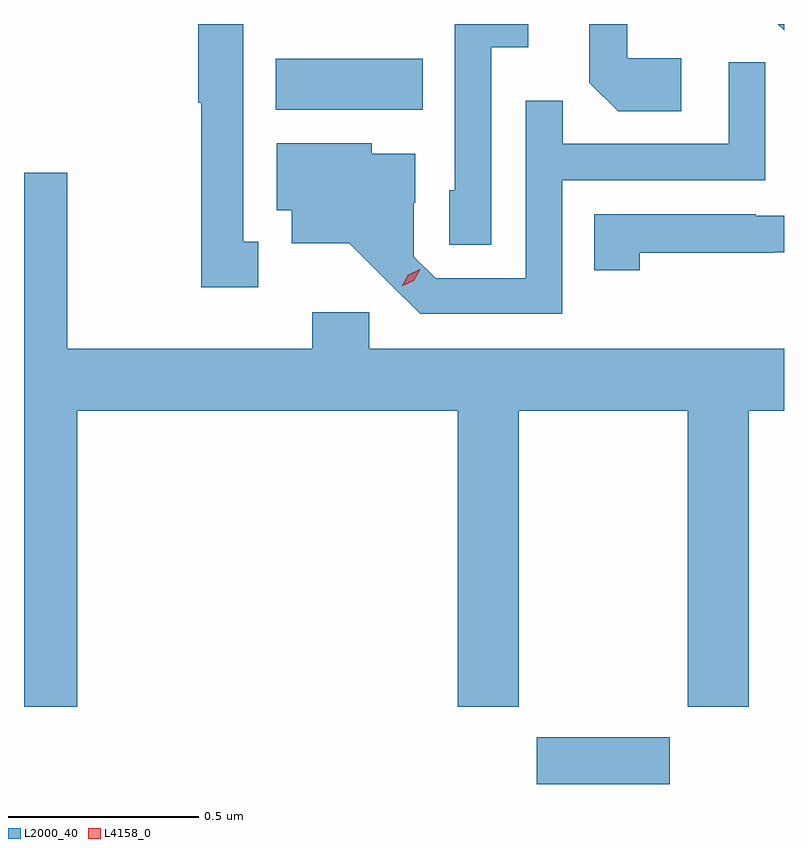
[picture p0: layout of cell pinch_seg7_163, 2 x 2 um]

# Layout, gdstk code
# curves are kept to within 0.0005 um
import gdstk
lib = gdstk.Library(unit=1e-6, precision=1e-09)
def R(c, l, rs):  # rectangles x0, y0, x1, y1
    for r in rs: c.add(gdstk.rectangle(r[:2], r[2:], *l))
def P(c, l, *ps):  # polygons
    for p in ps: c.add(gdstk.Polygon(p, *l))
L2000_40 = (2000, 40)
L4158_0 = (4158, 0)

pinch_seg7_163 = lib.new_cell('pinch_seg7_163')
R(pinch_seg7_163, L2000_40, [(1044.704,1024.942,1045.054,1025.065), (1044.017,1026.716,1044.404,1026.85)])
P(pinch_seg7_163, L2000_40, [(1044.585,1026.881),(1044.682,1026.881),(1044.682,1026.942),(1044.489,1026.942),(1044.489,1026.504),(1044.474,1026.504),(1044.474,1026.361),(1044.585,1026.361)],
  [(1043.971,1026.369),(1043.932,1026.369),(1043.932,1026.942),(1043.814,1026.942),(1043.814,1026.735),(1043.821,1026.735),(1043.821,1026.249),(1043.971,1026.249)],
  [(1045.084,1026.852),(1044.942,1026.852),(1044.942,1026.942),(1044.843,1026.942),(1044.843,1026.788),(1044.919,1026.712),(1045.084,1026.712)],
  [(1045.355,1026.942),(1045.338,1026.942),(1045.355,1026.925)],
  [(1044.771,1026.531),(1045.305,1026.531),(1045.305,1026.841),(1045.209,1026.841),(1045.209,1026.627),(1044.773,1026.627),(1044.773,1026.74),(1044.675,1026.74),(1044.675,1026.273),(1044.438,1026.273),(1044.381,1026.33),(1044.381,1026.472),(1044.385,1026.472),(1044.385,1026.601),(1044.27,1026.601),(1044.27,1026.628),(1044.02,1026.628),(1044.02,1026.452),(1044.059,1026.452),(1044.059,1026.365),(1044.211,1026.365),(1044.398,1026.18),(1044.771,1026.18)],
  [(1043.495,1025.924),(1044.497,1025.924),(1044.497,1025.145),(1044.657,1025.145),(1044.657,1025.924),(1045.102,1025.924),(1045.102,1025.145),(1045.262,1025.145),(1045.262,1025.924),(1045.355,1025.924),(1045.355,1026.088),(1044.264,1026.088),(1044.264,1026.184),(1044.113,1026.184),(1044.113,1026.088),(1043.469,1026.088),(1043.469,1026.55),(1043.355,1026.55),(1043.355,1025.145),(1043.495,1025.145)],
  [(1044.975,1026.34),(1045.331,1026.34),(1045.331,1026.341),(1045.355,1026.341),(1045.355,1026.438),(1045.28,1026.438),(1045.28,1026.441),(1044.856,1026.441),(1044.856,1026.294),(1044.975,1026.294)])
P(pinch_seg7_163, L4158_0, [(1044.349,1026.252),(1044.349,1026.252),(1044.366,1026.282),(1044.397,1026.297),(1044.398,1026.297),(1044.398,1026.297),(1044.38,1026.267),(1044.349,1026.252)])

lib.write_gds('pinch_seg7_163.gds')
